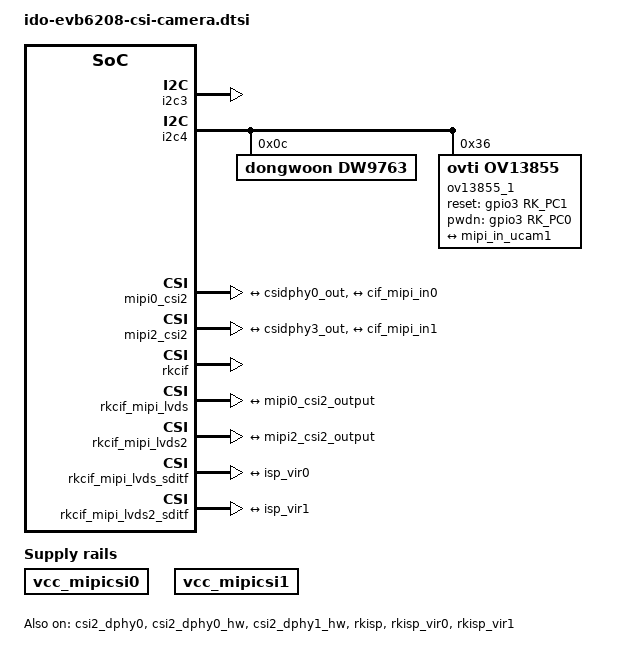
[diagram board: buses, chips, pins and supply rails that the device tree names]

// SPDX-License-Identifier: (GPL-2.0+ OR MIT)
/*
 * Copyright (c) 2023 Rockchip Electronics Co., Ltd.
 *
 */

/ {
	vcc_mipicsi0: vcc-mipicsi0-regulator {
		compatible = "regulator-fixed";
		// gpio = <&gpio3 RK_PC4 GPIO_ACTIVE_HIGH>;
		pinctrl-names = "default";
		// pinctrl-0 = <&mipicsi0_pwr>;
		regulator-name = "vcc_mipicsi0";
		enable-active-high;
		regulator-always-on;
		regulator-boot-on;
	};

	vcc_mipicsi1: vcc-mipicsi1-regulator {
		compatible = "regulator-fixed";
		// gpio = <&gpio3 RK_PC7 GPIO_ACTIVE_HIGH>;
		pinctrl-names = "default";
		// pinctrl-0 = <&mipicsi1_pwr>;
		regulator-name = "vcc_mipicsi1";
		enable-active-high;
		regulator-always-on;
		regulator-boot-on;
	};
};

&csi2_dphy3 {
	status = "disabled";

	ports {
		#address-cells = <1>;
		#size-cells = <0>;
		port@0 {
			reg = <0>;
			#address-cells = <1>;
			#size-cells = <0>;

			csi_dphy_input2: endpoint@2 {
				reg = <1>;
				remote-endpoint = <&sc450ai_out>;
				data-lanes = <1 2>;
			};

			mipi_in_ucam0: endpoint@1 {
				reg = <1>;
				remote-endpoint = <&sc850sl_out0>;
				data-lanes = <1 2 3 4>;
			};

			ov13855_in_ucam0: endpoint@3 {
				reg = <1>;
				remote-endpoint = <&ov13855_out0>;
				data-lanes = <1 2 3 4>;
			};
		};
		port@1 {
			reg = <1>;
			#address-cells = <1>;
			#size-cells = <0>;

			csidphy0_out: endpoint@0 {
				reg = <0>;
				remote-endpoint = <&mipi2_csi2_input>;
			};
		};
	};
};

&csi2_dphy0 {
	status = "okay";

	ports {
		#address-cells = <1>;
		#size-cells = <0>;
		port@0 {
			reg = <0>;
			#address-cells = <1>;
			#size-cells = <0>;

			mipi_in_ucam1: endpoint@1 {
				reg = <1>;
				remote-endpoint = <&ov13855_out1>;
				data-lanes = <1 2 3 4>;
			};
		};
		port@1 {
			reg = <1>;
			#address-cells = <1>;
			#size-cells = <0>;

			csidphy3_out: endpoint@0 {
				reg = <0>;
				remote-endpoint = <&mipi0_csi2_input>;
			};
		};
	};
};

&i2c3 {
	status = "okay";
	pinctrl-0 = <&i2c3m0_xfer>;
	
	dw9714: dw9714@c {
		compatible = "dongwoon,dw9714";
		status = "disabled";
		reg = <0x0c>;
		rockchip,vcm-start-current = <10>;
		rockchip,vcm-rated-current = <85>;
		rockchip,vcm-step-mode = <5>;
		rockchip,camera-module-index = <1>;
		rockchip,camera-module-facing = "fornt";
	};
/*
	gc8034: gc8034@37 {
		compatible = "galaxycore,gc8034";
		reg = <0x37>;
		clocks = <&cru CLK_CAM3_OUT2IO>;
		clock-names = "xvclk";
		pinctrl-names = "default";
		pinctrl-0 = <&cam_clk3_out>;
		reset-gpios = <&gpio3 RK_PC7 GPIO_ACTIVE_LOW>;
		pwdn-gpios = <&gpio3 RK_PD0 GPIO_ACTIVE_LOW>;
		// dvdd-supply = <&vcc_mipicsi0>;
		rockchip,camera-module-index = <1>;
		rockchip,camera-module-facing = "front";
		rockchip,camera-module-name = "RK-CMK-8M-2-v1";
		rockchip,camera-module-lens-name = "CK8401";
		lens-focus = <&dw9714>;
		status = "disabled";
		port {
			gc8034_out0: endpoint {
				remote-endpoint = <&mipi_in_ucam0>;
				data-lanes = <1 2 3 4>;
			};
		};
	};
*/
	sc450ai: sc450ai@30 {
		compatible = "smartsens,sc450ai";
		status = "disabled";
		reg = <0x30>;
		//clocks = <&cru CLK_MIPI0_OUT2IO>;
		clocks = <&cru CLK_CAM0_OUT2IO>;
		clock-names = "xvclk";
		//reset-gpios = <&gpio3 RK_PB3 GPIO_ACTIVE_HIGH>;
		//pwdn-gpios = <&gpio4 RK_PA2 GPIO_ACTIVE_HIGH>;
		pinctrl-names = "default";
		// pinctrl-0 = <&cam_clk0_pins>;
		pinctrl-0 = <&camm0_clk1_out>;
		reset-gpios = <&gpio3 RK_PC2 GPIO_ACTIVE_HIGH>;
		pwdn-gpios = <&gpio3 RK_PC3 GPIO_ACTIVE_HIGH>;
		rockchip,camera-module-index = <0>;
		rockchip,camera-module-facing = "back";
		rockchip,camera-module-name = "default";
		rockchip,camera-module-lens-name = "default";
		//rockchip,camera-module-sync-mode = "internal_master";
		port {
			sc450ai_out: endpoint {
				remote-endpoint = <&csi_dphy_input2>;
				data-lanes = <1 2>;
			};
		};
	};

	sc850sl_0: sc850sl@30 {
		status = "disabled";
		// compatible = "ovti,ov13855";
		compatible = "smartsens,sc850sl";
		reg = <0x30>;
		clocks = <&cru CLK_CAM1_OUT2IO>;
		clock-names = "xvclk";
		//pinctrl-names = "rockchip,camera_default";
		pinctrl-names = "default";
		pinctrl-0 = <&camm0_clk1_out>;
		reset-gpios = <&gpio3 RK_PC2 GPIO_ACTIVE_HIGH>;
		pwdn-gpios = <&gpio3 RK_PC3 GPIO_ACTIVE_HIGH>;

		rockchip,camera-module-index = <0>;
		rockchip,camera-module-facing = "front";
		rockchip,camera-module-name = "default";
		rockchip,camera-module-lens-name = "default";
//		lens-focus = <&dw9714>;

		port {
			sc850sl_out0: endpoint {
				remote-endpoint = <&mipi_in_ucam0>;
				data-lanes = <1 2 3 4>;
			};
		};
	};

	ov13855_0: ov13855@36 {
		status = "disabled";
		compatible = "ovti,ov13855";
		reg = <0x36>;
		clocks = <&cru CLK_CAM3_OUT2IO>;
		//clocks = <&cru CLK_CAM0_OUT2IO>;
		clock-names = "xvclk";
		//pinctrl-names = "rockchip,camera_default";
		pinctrl-names = "default";
		pinctrl-0 = <&camm0_clk1_out>;
		reset-gpios = <&gpio3 RK_PC2 GPIO_ACTIVE_HIGH>;
		pwdn-gpios = <&gpio3 RK_PC3 GPIO_ACTIVE_HIGH>;

		rockchip,camera-module-index = <1>;
		rockchip,camera-module-facing = "front";
		rockchip,camera-module-name = "KYT-10203-v1";
		rockchip,camera-module-lens-name = "default";
		lens-focus = <&dw9714>;

		port {
			ov13855_out0: endpoint {
				remote-endpoint = <&ov13855_in_ucam0>;
				data-lanes = <1 2 3 4>;
			};
		};
	};
	
	
};

&i2c4 {
	status = "okay";
	pinctrl-0 = <&i2c4m0_xfer>;

	dw9763: dw9763@c {
		compatible = "dongwoon,dw9763";
		status = "okay";
		reg = <0x0c>;
		rockchip,vcm-max-current = <120>;
		rockchip,vcm-start-current = <20>;
		rockchip,vcm-rated-current = <90>;
		rockchip,vcm-step-mode = <3>;
		rockchip,vcm-t-src = <0x20>;
		rockchip,vcm-t-div = <1>;
		rockchip,camera-module-index = <0>;
		rockchip,camera-module-facing = "back";
	};

	ov13855_1: ov13855@36 {
		status = "okay";
		compatible = "ovti,ov13855";
		reg = <0x36>;
		clocks = <&cru CLK_CAM0_OUT2IO>;
		clock-names = "xvclk";
		//pinctrl-names = "rockchip,camera_default";
		pinctrl-names = "default";
		pinctrl-0 = <&camm0_clk0_out>;

		reset-gpios = <&gpio3 RK_PC1 GPIO_ACTIVE_HIGH>;
		pwdn-gpios = <&gpio3 RK_PC0 GPIO_ACTIVE_HIGH>;

		rockchip,camera-module-index = <0>;
		rockchip,camera-module-facing = "back";
		rockchip,camera-module-name = "default";
		rockchip,camera-module-lens-name = "default";
		lens-focus = <&dw9763>;

		port {
			ov13855_out1: endpoint {
				remote-endpoint = <&mipi_in_ucam1>;
				data-lanes = <1 2 3 4>;
			};
		};
	};
};

&csi2_dphy0_hw {
	status = "okay";
};

&csi2_dphy1_hw {
	status = "okay";
};

&mipi0_csi2 {
	status = "okay";

	ports {
		#address-cells = <1>;
		#size-cells = <0>;

		port@0 {
			reg = <0>;
			#address-cells = <1>;
			#size-cells = <0>;

			mipi0_csi2_input: endpoint@1 {
				reg = <1>;
				remote-endpoint = <&csidphy0_out>;
			};
		};

		port@1 {
			reg = <1>;
			#address-cells = <1>;
			#size-cells = <0>;

			mipi0_csi2_output: endpoint@0 {
				reg = <0>;
				remote-endpoint = <&cif_mipi_in0>;
			};
		};
	};
};

&mipi2_csi2 {
	status = "okay";

	ports {
		#address-cells = <1>;
		#size-cells = <0>;

		port@0 {
			reg = <0>;
			#address-cells = <1>;
			#size-cells = <0>;

			mipi2_csi2_input: endpoint@1 {
				reg = <1>;
				remote-endpoint = <&csidphy3_out>;
			};
		};

		port@1 {
			reg = <1>;
			#address-cells = <1>;
			#size-cells = <0>;

			mipi2_csi2_output: endpoint@0 {
				reg = <0>;
				remote-endpoint = <&cif_mipi_in1>;
			};
		};
	};
};

&rkcif {
	status = "okay";
};

&rkcif_mipi_lvds {
	status = "okay";

	port {
		cif_mipi_in0: endpoint {
			remote-endpoint = <&mipi0_csi2_output>;
		};
	};
};

&rkcif_mipi_lvds2 {
	status = "okay";

	port {
		cif_mipi_in1: endpoint {
			remote-endpoint = <&mipi2_csi2_output>;
		};
	};
};

&rkcif_mipi_lvds_sditf {
	status = "okay";

	port {
		mipi_lvds_sditf: endpoint {
			remote-endpoint = <&isp_vir0>;
		};
	};
};

&rkcif_mipi_lvds2_sditf {
	status = "okay";

	port {
		mipi_lvds2_sditf: endpoint {
			remote-endpoint = <&isp_vir1>;
		};
	};
};

&rkcif_mmu {
	status = "okay";
};

&rkisp {
	status = "okay";
};

&rkisp_mmu {
	status = "okay";
};

&rkisp_vir0 {
	status = "okay";

	port {
		#address-cells = <1>;
		#size-cells = <0>;

		isp_vir0: endpoint@0 {
			reg = <0>;
			remote-endpoint = <&mipi_lvds_sditf>;
		};
	};
};

&rkisp_vir1 {
	status = "okay";

	port {
		#address-cells = <1>;
		#size-cells = <0>;

		isp_vir1: endpoint@1 {
			reg = <1>;
			remote-endpoint = <&mipi_lvds2_sditf>;
		};
	};
};

&pinctrl {
	cam {
		mipicsi0_pwr: mipicsi0-pwr {
			rockchip,pins =
				/* camera power en */
				<3 RK_PC4 RK_FUNC_GPIO &pcfg_pull_none>;
		};
		mipicsi1_pwr: mipicsi1-pwr {
			rockchip,pins =
				/* camera1 power en */
				<3 RK_PC7 RK_FUNC_GPIO &pcfg_pull_none>;
		};
	};
};


